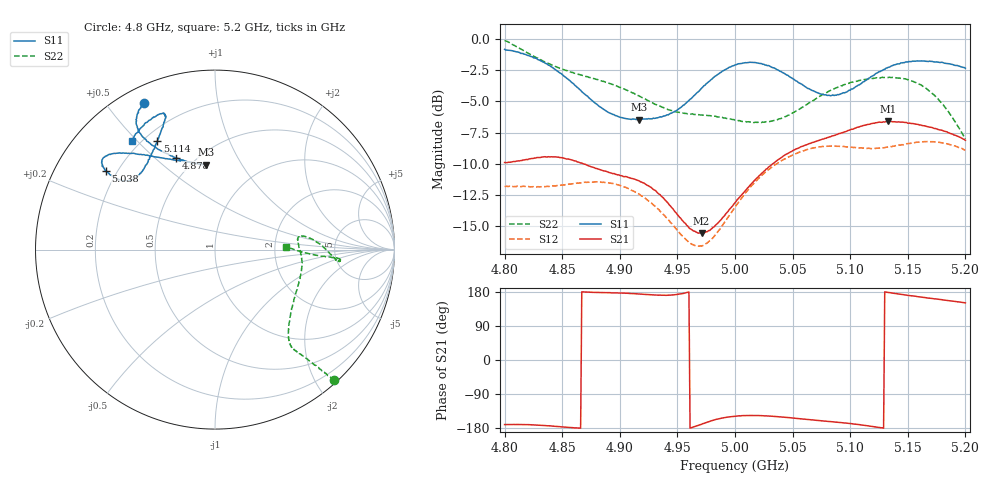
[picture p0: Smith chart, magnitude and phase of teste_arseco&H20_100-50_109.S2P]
! Network Analyzer HP8722D
! Hewlett-Packard
! Data name: Linha & Wilkinson
! Saver's name: Rodrigo Anjos
! Comments: Teste da utilização de aquisição
! continua pelo VNA HP8722D
! Time and date: 6/5/2025 13:28
!  Frequency  S11  S21  S12  S22
# HZ  S  MA R 50
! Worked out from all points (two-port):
!   401 points, 4.8 GHz to 5.2 GHz, reference 50 ohm
!   highest |S21| = -6.59 dB at 5.133 GHz (marker M1); lowest = -15.5 dB at 4.971 GHz (marker M2)
!   |S21| within 3 dB of the highest: 4.822 GHz to 4.853 GHz (30.5 MHz wide, 0.63 % of centre); 5.039 GHz to end of sweep
!   lowest |S11| = -6.5 dB at 4.917 GHz (marker M3), VSWR 2.81, Z = 29.2 + j35.6 ohm
!   |S11| at or under -10 dB: nowhere
!   |S22| runs from -8.0 to -0.1 dB; largest |S21 - S12| = 0.83
!   S11 on the Smith chart (normalised r, x): 4.8 GHz: 0.07, +0.62; 4.878 GHz: 0.40, +0.59; 5.038 GHz: 0.16, +0.31; 5.114 GHz: 0.25, +0.57; 5.2 GHz: 0.17, +0.48
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4.8e9  0.9074 115.8  0.3203 -170.4  0.2572 -86.2  0.9847 -47.5
4.819e9  0.8624 120.3  0.3293 -170.5  0.2559 -81.9  0.8825 -48.8
4.835e9  0.7999 122.5  0.3378 -172.9  0.2565 -76.6  0.8081 -49.8
4.867e9  0.6142 117.9  0.3187 179.8  0.2659 -67.4  0.7155 -51.6
4.878e9  0.556 113.0  0.3051 178.4  0.2677 -66.2  0.6925 -51.9
4.901e9  0.4844 100.6  0.2838 176.6  0.2584 -66.8  0.6385 -50.0
4.917e9  0.4754 96.1  0.2701 174.2  0.2391 -68.6  0.5896 -45.8
4.934e9  0.4851 99.0  0.2394 170.9  0.2075 -69.4  0.5384 -37.6
4.96e9  0.5668 117.1  0.1755 179.5  0.1537 -58.1  0.5017 -20.5
4.971e9  0.6344 124.7  0.1671 -169.6  0.1484 -45.4  0.4959 -13.8
4.982e9  0.7043 130.4  0.1772 -158.2  0.1624 -33.1  0.4904 -8.3
5e9  0.7861 137.3  0.221 -148.3  0.2125 -21.6  0.473 -0.3
5.018e9  0.8032 141.7  0.2745 -146.6  0.2697 -18.3  0.4644 5.7
5.038e9  0.7472 144.3  0.3299 -149.7  0.3208 -18.5  0.4782 8.8
5.067e9  0.6212 142.1  0.3849 -158.0  0.3655 -20.6  0.5632 4.6
5.088e9  0.5948 132.8  0.414 -163.9  0.3717 -23.7  0.637 -1.7
5.114e9  0.683 118.0  0.4527 -173.1  0.3645 -26.7  0.6894 -5.4
5.133e9  0.7687 111.5  0.4682 178.2  0.3693 -28.6  0.7 -4.9
5.134e9  0.7703 111.2  0.4661 177.9  0.3698 -28.8  0.7025 -4.7
5.162e9  0.8159 112.8  0.4508 165.8  0.3874 -35.4  0.6519 -3.9
5.179e9  0.8054 118.5  0.4315 159.1  0.3845 -40.8  0.5557 -3.1
5.2e9  0.7625 127.4  0.3928 150.7  0.3589 -46.3  0.3977 2.3
